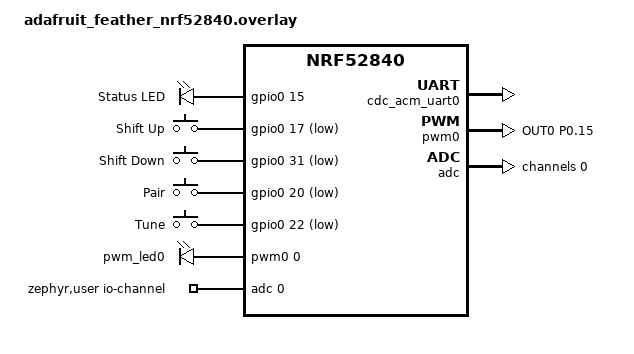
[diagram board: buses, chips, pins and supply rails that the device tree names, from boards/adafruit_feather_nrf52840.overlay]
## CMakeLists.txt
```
# open-elin-firmware-c/CMakeLists.txt
cmake_minimum_required(VERSION 3.20.0)
find_package(Zephyr REQUIRED HINTS $ENV{ZEPHYR_BASE})
project(nxs-pod-firmware)

target_sources(app PRIVATE
  src/main.c
  src/protocol.c
  src/gatt.c
)
```

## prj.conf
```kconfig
# open-elin-firmware-c/prj.conf

# Use internal RC oscillator (SuperMini's 32.768 kHz crystal is often faulty)
CONFIG_CLOCK_CONTROL_NRF_K32SRC_RC=y
CONFIG_CLOCK_CONTROL_NRF_K32SRC_XTAL=n

# Flash layout for nice_nano UF2 bootloader (MBR at 0x0000, app starts at 0x1000)
CONFIG_FLASH_LOAD_OFFSET=0x1000
CONFIG_BUILD_OUTPUT_UF2=y
CONFIG_BUILD_OUTPUT_UF2_FAMILY_ID="0xADA52840"

# GPIO
CONFIG_GPIO=y

# Reboot support (for bootloader entry)
CONFIG_REBOOT=y

# Logging
CONFIG_LOG=y
CONFIG_LOG_DEFAULT_LEVEL=2

# USB CDC ACM serial console
CONFIG_USB_DEVICE_STACK=y
CONFIG_USB_DEVICE_PRODUCT="NXS Pod Firmware"
CONFIG_USB_DEVICE_VID=0x1209
CONFIG_USB_DEVICE_PID=0x0001
CONFIG_UART_LINE_CTRL=y

# Route console and logging to USB serial
CONFIG_CONSOLE=y
CONFIG_UART_CONSOLE=y
CONFIG_SERIAL=y
CONFIG_USB_CDC_ACM=y
CONFIG_USB_CDC_ACM_LOG_LEVEL_OFF=y

# BLE
CONFIG_BT=y
CONFIG_BT_PERIPHERAL=y
CONFIG_BT_DEVICE_NAME="NXS MTB Pod"
CONFIG_BT_DEVICE_APPEARANCE=0
CONFIG_BT_GAP_AUTO_UPDATE_CONN_PARAMS=y
CONFIG_BT_MAX_CONN=2

# BLE Security (hub bonds to pod during add-device)
CONFIG_BT_SMP=y
CONFIG_BT_BONDABLE=y
CONFIG_BT_MAX_PAIRED=1
CONFIG_BT_KEYS_OVERWRITE_OLDEST=y
CONFIG_BT_SMP_ALLOW_UNAUTH_OVERWRITE=y
CONFIG_BT_SMP_SC_PAIR_ONLY=n

# GATT
CONFIG_BT_GATT_DYNAMIC_DB=n
CONFIG_BT_ATT_TX_COUNT=4

# Flash + NVS for bond persistence
# (partition at 0xEC000, below bootloader at 0xF4000)
CONFIG_MPU_ALLOW_FLASH_WRITE=y
CONFIG_FLASH=y
CONFIG_FLASH_PAGE_LAYOUT=y
CONFIG_FLASH_MAP=y
CONFIG_NVS=y
CONFIG_NVS_LOG_LEVEL_DBG=y
CONFIG_SETTINGS=y
CONFIG_SETTINGS_NVS=y
CONFIG_BT_SETTINGS=y

# ADC (battery voltage measurement)
CONFIG_ADC=y

# PWM (battery-level LED pulse indicator)
CONFIG_PWM=y

# Power management
CONFIG_PM=y

# SuperMini has no QSPI flash (Feather board enables it by default)
CONFIG_NORDIC_QSPI_NOR=n
CONFIG_NRFX_QSPI=n
```

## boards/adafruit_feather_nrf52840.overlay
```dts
/* open-elin-firmware-c/boards/adafruit_feather_nrf52840.overlay */
/* SuperMini nRF52840 pin overrides for UF2 bootloader */

#include <zephyr/dt-bindings/adc/nrf-adc.h>
#include <zephyr/dt-bindings/pwm/pwm.h>

/ {
    leds {
        compatible = "gpio-leds";
        led0: led_0 {
            gpios = <&gpio0 15 GPIO_ACTIVE_HIGH>;
            label = "Status LED";
        };
    };

    buttons {
        compatible = "gpio-keys";
        btn_up: button_0 {
            gpios = <&gpio0 17 (GPIO_PULL_UP | GPIO_ACTIVE_LOW)>;
            label = "Shift Up";
        };
        btn_down: button_1 {
            gpios = <&gpio0 31 (GPIO_PULL_UP | GPIO_ACTIVE_LOW)>;
            label = "Shift Down";
        };
        btn_pair: button_2 {
            gpios = <&gpio0 20 (GPIO_PULL_UP | GPIO_ACTIVE_LOW)>;
            label = "Pair";
        };
        btn_tune: button_3 {
            gpios = <&gpio0 22 (GPIO_PULL_UP | GPIO_ACTIVE_LOW)>;
            label = "Tune";
        };
    };

    aliases {
        sw0 = &btn_up;
        sw1 = &btn_down;
        sw2 = &btn_pair;
        sw3 = &btn_tune;
    };

    chosen {
        zephyr,console = &cdc_acm_uart0;
    };

    pwmleds {
        compatible = "pwm-leds";
        pwm_led0: pwm_led_0 {
            pwms = <&pwm0 0 PWM_MSEC(20) PWM_POLARITY_NORMAL>;
        };
    };
};

&zephyr_udc0 {
    cdc_acm_uart0: cdc_acm_uart0 {
        compatible = "zephyr,cdc-acm-uart";
    };
};

/* Move storage_partition BEFORE UF2 bootloader (0xF4000+).
 * Default Zephyr puts it at 0xF8000 which overlaps the Adafruit bootloader
 * at 0xF4000-0x100000 and bricks it (see https://zmk.dev/blog/2020/10/03/bootloader-fix).
 * ZMK's fix: 32KB (8 sectors) at 0xEC000-0xF4000, right below the bootloader. */

/* Delete the default storage_partition at 0xF8000 */
/delete-node/ &storage_partition;

&flash0 {
    partitions {
        /* Shrink code_partition to end before storage */
        code_partition: partition@1000 {
            reg = <0x00001000 0x000eb000>;  /* 0x1000 to 0xEC000 */
        };

        /* 32KB NVS storage, safely below bootloader */
        storage_partition: partition@ec000 {
            compatible = "zephyr,mapped-partition";
            label = "storage";
            reg = <0x000ec000 0x00008000>;  /* 0xEC000 to 0xF4000 */
        };

        /* 0xF4000-0x100000 reserved for Adafruit UF2 bootloader */
    };
};

/* PWM for battery-level LED pulse indicator */
&pwm0 {
    status = "okay";
    pinctrl-0 = <&pwm0_default>;
    pinctrl-1 = <&pwm0_sleep>;
    pinctrl-names = "default", "sleep";
};

&pinctrl {
    pwm0_default: pwm0_default {
        group1 {
            psels = <NRF_PSEL(PWM_OUT0, 0, 15)>;
        };
    };
    pwm0_sleep: pwm0_sleep {
        group1 {
            psels = <NRF_PSEL(PWM_OUT0, 0, 15)>;
            low-power-enable;
        };
    };
};

/* SuperMini has no QSPI flash — disable to suppress JEDEC ID error */
&qspi {
    status = "disabled";
};

/* Battery voltage via nRF52840 internal VDDHDIV5.
 * Reads VDDH/5 — gives real battery voltage when on battery (no USB).
 * On USB: reads ~5V (VDDH = USB), not useful for battery level.
 * No external voltage divider needed — zero hardware mods. */
/ {
    zephyr,user {
        io-channels = <&adc 0>;
    };
};

&adc {
    status = "okay";
    #address-cells = <1>;
    #size-cells = <0>;
    channel@0 {
        reg = <0>;
        zephyr,gain = "ADC_GAIN_1_6";
        zephyr,reference = "ADC_REF_INTERNAL";
        zephyr,acquisition-time = <ADC_ACQ_TIME_DEFAULT>;
        zephyr,input-positive = <NRF_SAADC_VDDHDIV5>;
        zephyr,resolution = <12>;
    };
};
```

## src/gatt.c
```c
/* open-elin-firmware-c/src/gatt.c */
#include "gatt.h"
#include <zephyr/bluetooth/bluetooth.h>
#include <zephyr/bluetooth/uuid.h>
#include <zephyr/bluetooth/gatt.h>
#include <zephyr/logging/log.h>
#include <stdbool.h>
#include <string.h>

LOG_MODULE_REGISTER(gatt, LOG_LEVEL_INF);

/* BikeNet service UUID: a5c1c000-cc20-ba91-0c1a-ef3f9e643d79 */
static struct bt_uuid_128 svc_uuid = BT_UUID_INIT_128(
    0x79, 0x3D, 0x64, 0x9E, 0x3F, 0xEF, 0x1A, 0x0C,
    0x91, 0xBA, 0x20, 0xCC, 0x00, 0xC0, 0xC1, 0xA5);

/* MSG characteristic UUID: a5c1cc01-cc20-ba91-0c1a-ef3f9e643d79 */
static struct bt_uuid_128 msg_uuid = BT_UUID_INIT_128(
    0x79, 0x3D, 0x64, 0x9E, 0x3F, 0xEF, 0x1A, 0x0C,
    0x91, 0xBA, 0x20, 0xCC, 0x01, 0xCC, 0xC1, 0xA5);

/* PIN characteristic UUID: a5c1cc02-cc20-ba91-0c1a-ef3f9e643d79 */
static struct bt_uuid_128 pin_uuid = BT_UUID_INIT_128(
    0x79, 0x3D, 0x64, 0x9E, 0x3F, 0xEF, 0x1A, 0x0C,
    0x91, 0xBA, 0x20, 0xCC, 0x02, 0xCC, 0xC1, 0xA5);

static gatt_write_cb_t msg_write_cb;
static gatt_write_cb_t pin_write_cb;

static uint8_t msg_buf[20];
static uint8_t pin_buf[20];

void gatt_set_msg_write_cb(gatt_write_cb_t cb) { msg_write_cb = cb; }
void gatt_set_pin_write_cb(gatt_write_cb_t cb) { pin_write_cb = cb; }

static ssize_t msg_write(struct bt_conn *conn, const struct bt_gatt_attr *attr,
                         const void *buf, uint16_t len, uint16_t offset, uint8_t flags)
{
    if (offset + len > sizeof(msg_buf)) {
        return BT_GATT_ERR(BT_ATT_ERR_INVALID_OFFSET);
    }
    memcpy(msg_buf + offset, buf, len);
    LOG_HEXDUMP_INF(msg_buf, len, "<- MSG");
    if (msg_write_cb) {
        msg_write_cb(msg_buf, len);
    }
    return len;
}

static ssize_t pin_write(struct bt_conn *conn, const struct bt_gatt_attr *attr,
                         const void *buf, uint16_t len, uint16_t offset, uint8_t flags)
{
    if (offset + len > sizeof(pin_buf)) {
        return BT_GATT_ERR(BT_ATT_ERR_INVALID_OFFSET);
    }
    memcpy(pin_buf + offset, buf, len);
    LOG_HEXDUMP_INF(pin_buf, len, "<- PIN");
    if (pin_write_cb) {
        pin_write_cb(pin_buf, len);
    }
    return len;
}

static void msg_ccc_changed(const struct bt_gatt_attr *attr, uint16_t value)
{
    LOG_INF("MSG notifications %s", value == BT_GATT_CCC_NOTIFY ? "enabled" : "disabled");
}

static void pin_ccc_changed(const struct bt_gatt_attr *attr, uint16_t value)
{
    LOG_INF("PIN notifications %s", value == BT_GATT_CCC_NOTIFY ? "enabled" : "disabled");
}

/* GATT service layout:
 * [0] Primary Service declaration
 * [1] MSG Characteristic declaration
 * [2] MSG Value attribute (write handler)
 * [3] MSG CCC descriptor
 * [4] PIN Characteristic declaration
 * [5] PIN Value attribute (write handler)
 * [6] PIN CCC descriptor
 */
BT_GATT_SERVICE_DEFINE(bikenet_svc,
    BT_GATT_PRIMARY_SERVICE(&svc_uuid),

    /* MSG: write + write_no_resp + notify */
    BT_GATT_CHARACTERISTIC(&msg_uuid.uuid,
        BT_GATT_CHRC_WRITE | BT_GATT_CHRC_WRITE_WITHOUT_RESP | BT_GATT_CHRC_NOTIFY,
        BT_GATT_PERM_WRITE,
        NULL, msg_write, NULL),
    BT_GATT_CCC(msg_ccc_changed, BT_GATT_PERM_READ | BT_GATT_PERM_WRITE),

    /* PIN: write + write_no_resp + notify */
    BT_GATT_CHARACTERISTIC(&pin_uuid.uuid,
        BT_GATT_CHRC_WRITE | BT_GATT_CHRC_WRITE_WITHOUT_RESP | BT_GATT_CHRC_NOTIFY,
        BT_GATT_PERM_WRITE,
        NULL, pin_write, NULL),
    BT_GATT_CCC(pin_ccc_changed, BT_GATT_PERM_READ | BT_GATT_PERM_WRITE),
);

int gatt_notify_msg(const uint8_t *data, size_t len)
{
    return bt_gatt_notify(NULL, &bikenet_svc.attrs[2], data, len);
}

int gatt_notify_pin(const uint8_t *data, size_t len)
{
    return bt_gatt_notify(NULL, &bikenet_svc.attrs[5], data, len);
}

/*── Nordic UART Service (NUS) ──────────────────────────────────────────────*/
/* UUID: 6e400001-b5a3-f393-e0a9-e50e24dcca9e */
static struct bt_uuid_128 nus_svc_uuid = BT_UUID_INIT_128(
    0x9E, 0xCA, 0xDC, 0x24, 0x0E, 0xE5, 0xA9, 0xE0,
    0x93, 0xF3, 0xA3, 0xB5, 0x01, 0x00, 0x40, 0x6E);

/* NUS TX (pod→phone): 6e400003-b5a3-f393-e0a9-e50e24dcca9e */
static struct bt_uuid_128 nus_tx_uuid = BT_UUID_INIT_128(
    0x9E, 0xCA, 0xDC, 0x24, 0x0E, 0xE5, 0xA9, 0xE0,
    0x93, 0xF3, 0xA3, 0xB5, 0x03, 0x00, 0x40, 0x6E);

/* NUS RX (phone→pod): 6e400002-b5a3-f393-e0a9-e50e24dcca9e */
static struct bt_uuid_128 nus_rx_uuid = BT_UUID_INIT_128(
    0x9E, 0xCA, 0xDC, 0x24, 0x0E, 0xE5, 0xA9, 0xE0,
    0x93, 0xF3, 0xA3, 0xB5, 0x02, 0x00, 0x40, 0x6E);

static volatile bool nus_subscribed;
static gatt_write_cb_t nus_rx_cb;
static gatt_nus_subscribe_cb_t nus_subscribe_cb;

void gatt_set_nus_rx_cb(gatt_write_cb_t cb) { nus_rx_cb = cb; }
void gatt_set_nus_subscribe_cb(gatt_nus_subscribe_cb_t cb) { nus_subscribe_cb = cb; }

static void nus_ccc_changed(const struct bt_gatt_attr *attr, uint16_t value)
{
    nus_subscribed = (value == BT_GATT_CCC_NOTIFY);
    LOG_INF("NUS TX notifications %s", nus_subscribed ? "enabled" : "disabled");
    if (nus_subscribe_cb) {
        nus_subscribe_cb(nus_subscribed);
    }
}

static ssize_t nus_rx_write(struct bt_conn *conn, const struct bt_gatt_attr *attr,
                            const void *buf, uint16_t len, uint16_t offset, uint8_t flags)
{
    if (len > 0 && nus_rx_cb) {
        nus_rx_cb(buf, len);
    }
    return len;
}

BT_GATT_SERVICE_DEFINE(nus_svc,
    BT_GATT_PRIMARY_SERVICE(&nus_svc_uuid),

    /* TX: notify only (pod → phone) */
    BT_GATT_CHARACTERISTIC(&nus_tx_uuid.uuid,
        BT_GATT_CHRC_NOTIFY,
        BT_GATT_PERM_NONE,
        NULL, NULL, NULL),
    BT_GATT_CCC(nus_ccc_changed, BT_GATT_PERM_READ | BT_GATT_PERM_WRITE),

    /* RX: write (phone → pod) */
    BT_GATT_CHARACTERISTIC(&nus_rx_uuid.uuid,
        BT_GATT_CHRC_WRITE | BT_GATT_CHRC_WRITE_WITHOUT_RESP,
        BT_GATT_PERM_WRITE,
        NULL, nus_rx_write, NULL),
);

bool gatt_nus_is_subscribed(void)
{
    return nus_subscribed;
}

int gatt_nus_send(const char *str, size_t len)
{
    if (!nus_subscribed || len == 0) {
        return 0;
    }
    return bt_gatt_notify(NULL, &nus_svc.attrs[1], str, len);
}
```

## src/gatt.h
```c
/* open-elin-firmware-c/src/gatt.h */
#ifndef GATT_H
#define GATT_H

#include <zephyr/bluetooth/gatt.h>
#include <stdint.h>
#include <stddef.h>

/* Send a notification on the MSG characteristic. */
int gatt_notify_msg(const uint8_t *data, size_t len);

/* Send a notification on the PIN characteristic. */
int gatt_notify_pin(const uint8_t *data, size_t len);

/* Send a string over BLE NUS TX (no-op if nobody subscribed). */
int gatt_nus_send(const char *str, size_t len);

/* Returns true if a NUS client has subscribed to TX notifications. */
bool gatt_nus_is_subscribed(void);

/* Callback type for incoming writes. */
typedef void (*gatt_write_cb_t)(const uint8_t *data, uint16_t len);

void gatt_set_msg_write_cb(gatt_write_cb_t cb);
void gatt_set_pin_write_cb(gatt_write_cb_t cb);
void gatt_set_nus_rx_cb(gatt_write_cb_t cb);

/* Called when NUS TX notifications are enabled/disabled. */
typedef void (*gatt_nus_subscribe_cb_t)(bool subscribed);
void gatt_set_nus_subscribe_cb(gatt_nus_subscribe_cb_t cb);

#endif /* GATT_H */
```

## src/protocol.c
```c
/* open-elin-firmware-c/src/protocol.c */
#include "protocol.h"
#include <string.h>

void protocol_encode_button(uint8_t out[FRAME_LEN],
                            const uint8_t mac_le[MAC_LEN],
                            uint8_t button_id, uint8_t action)
{
    put_le16(&out[OFF_OPCODE], OPCODE_BUTTON);
    memcpy(&out[OFF_MAC], mac_le, MAC_LEN);
    out[OFF_PAYLOAD]     = button_id;
    out[OFF_PAYLOAD + 1] = action;
}

void protocol_encode_battery(uint8_t out[FRAME_LEN],
                             const uint8_t mac_le[MAC_LEN],
                             uint16_t mv)
{
    put_le16(&out[OFF_OPCODE], OPCODE_BATTERY);
    memcpy(&out[OFF_MAC], mac_le, MAC_LEN);
    put_le16(&out[OFF_PAYLOAD], mv);
}
```

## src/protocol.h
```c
/* open-elin-firmware-c/src/protocol.h */
#ifndef PROTOCOL_H
#define PROTOCOL_H

#include <stdint.h>
#include <stddef.h>

/*── Opcodes (little-endian on the wire) ──*/
#define OPCODE_BATTERY        0x4000
#define OPCODE_BUTTON         0x4001

/*── Button actions ──*/
#define ACTION_PRESS   0x00
#define ACTION_RELEASE 0x01

/*── Common frame layout: [opcode 2B LE][mac 6B LE][payload 2B] ──*/
#define FRAME_LEN       10
#define MAC_LEN          6

enum frame_offsets {
    OFF_OPCODE  = 0,   /* 2 bytes, little-endian */
    OFF_MAC     = 2,   /* 6 bytes, little-endian */
    OFF_PAYLOAD = 8,   /* 2 bytes — meaning depends on opcode */
};

/*── LE16 wire helpers ──*/
static inline void put_le16(uint8_t *dst, uint16_t val)
{
    dst[0] = (uint8_t)(val & 0xFF);
    dst[1] = (uint8_t)(val >> 8);
}

static inline uint16_t get_le16(const uint8_t *src)
{
    return (uint16_t)src[0] | ((uint16_t)src[1] << 8);
}

/*── Encoding ──*/
void protocol_encode_button(uint8_t out[FRAME_LEN],
                            const uint8_t mac_le[MAC_LEN],
                            uint8_t button_id, uint8_t action);

void protocol_encode_battery(uint8_t out[FRAME_LEN],
                             const uint8_t mac_le[MAC_LEN],
                             uint16_t mv);

#endif /* PROTOCOL_H */
```
